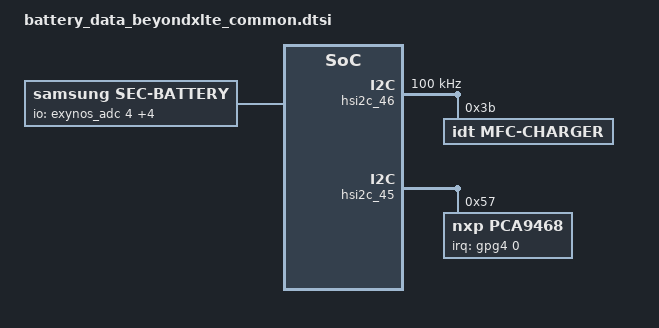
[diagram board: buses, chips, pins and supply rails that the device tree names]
/*
 * SAMSUNG UNIVERSAL9820 board device tree source
 *
 * Copyright (c) 2018 Samsung Electronics Co., Ltd.
 *		http://www.samsung.com
 *
 * This program is free software; you can redistribute it and/or modify
 * it under the terms of the GNU General Public License version 2 as
 * published by the Free Software Foundation.
 */

/ {
	fragment@battery {
		target-path = "/";
		__overlay__ {
			sec-direct-charger {
				status = "okay";
				compatible = "samsung,sec-direct-charger";

				charger,battery_name = "battery";
				charger,main_charger = "max77705-charger";
				charger,direct_charger = "pca9468-charger";

				charger,dchg_min_current = <2000>;
				charger,dchg_temp_low_threshold = <180>;
				charger,dchg_temp_high_threshold = <410>;

				charger,ta_alert_wa;
			};

			battery {
				status = "okay";
				compatible = "samsung,sec-battery";

				pinctrl-names = "default";
				/* battery,irq_gpio = <&gpa1 6 0>; */
				battery,wpc_en = <&gpg0 1 0>;

				battery,vendor = "Battery";
				battery,charger_name = "sec-direct-charger";
				battery,fuelgauge_name = "max77705-fuelgauge";
				battery,wireless_charger_name = "mfc-charger";
				battery,technology = <2>; /* POWER_SUPPLY_TECHNOLOGY_LION */
				battery,fgsrc_switch_name = "max77705-charger"; /* Fuelgauge voltage source */

				battery,batt_data_version = <2>;

				battery,chip_vendor = "LSI";
				battery,temp_adc_type = <1>; /* SEC_BATTERY_ADC_TYPE_AP */

				battery,temp_check_type = <2>; /* SEC_BATTERY_TEMP_CHECK_TEMP */
				battery,usb_temp_check_type = <2>; /* SEC_BATTERY_TEMP_CHECK_TEMP */
				battery,chg_temp_check_type = <2>; /* SEC_BATTERY_TEMP_CHECK_TEMP */
				battery,wpc_temp_check_type = <2>; /* SEC_BATTERY_TEMP_CHECK_TEMP */
				battery,dchg_temp_check_type = <0>; /* SEC_BATTERY_TEMP_CHECK_NONE for test */

				battery,thermal_source = <2>; /* SEC_BATTERY_THERMAL_SOURCE_ADC */
				battery,usb_thermal_source = <2>; /* SEC_BATTERY_THERMAL_SOURCE_ADC */
				battery,chg_thermal_source = <2>; /* SEC_BATTERY_THERMAL_SOURCE_ADC */
				battery,wpc_thermal_source = <2>; /* SEC_BATTERY_THERMAL_SOURCE_ADC */
				battery,dchg_thermal_source = <3>; /* SEC_BATTERY_THERMAL_SOURCE_CHG_ADC */

				battery,polling_time = <10 30 30 30 3600>;

				battery,temp_table_adc = <293 343 404 474 557 652 764 893 1040 1207
					1390 1594 1812 2041 2275 2511 2738 2951 3135 3321 3463 3592 3693>;
				battery,temp_table_data = <900 850 800 750 700 650 600 550 500 450
					400 350 300 250 200 150 100 50 0 (-50) (-100) (-150) (-200)>;

				battery,usb_temp_table_adc = <293 343 409 479 562 657 770 899 1045 1212
					1395 1598 1815 2042 2275 2507 2733 2945 3139 3301 3442 3566 3677>;
				battery,usb_temp_table_data = <900 850 800 750 700 650 600 550 500 450
					400 350 300 250 200 150 100 50 0 (-50) (-100) (-150) (-200)>;

				battery,chg_temp_table_adc = <275 325 388 457 538 633 744 872 1009 1184
					1366 1570 1786 2014 2248 2483 2710 2916 3111 3294 3443 3560 3672>;
				battery,chg_temp_table_data = <900 850 800 750 700 650 600 550 500 450
					400 350 300 250 200 150 100 50 0 (-50) (-100) (-150) (-200)>;

				battery,wpc_temp_table_adc = <293 343 404 474 557 652 764 893 1040 1207
					1390 1594 1812 2041 2275 2511 2738 2951 3135 3321 3463 3592 3693>;
				battery,wpc_temp_table_data = <900 850 800 750 700 650 600 550 500 450
					400 350 300 250 200 150 100 50 0 (-50) (-100) (-150) (-200)>;

				battery,dchg_temp_table_adc = <110262 131376 159528 190026 225216 265098 307326 373014 436356 511428
					593538 685032 783564 886788 992358 1100274 1205844 1299684 1391178 1470942 1538976 1595280 1642200>;
				battery,dchg_temp_table_data = <900 850 800 750 700 650 600 550 500 450
					400 350 300 250 200 150 100 50 0 (-50) (-100) (-150) (-200)>;

				battery,wireless_cc_cv = <85>;
				battery,wpc_cc_cv_vout = <5500>;
				battery,wpc_cv_call_vout = <5000>;
				battery,wpc_cc_call_vout = <5000>;
				battery,wpc_det = <&gpa2 0 0>;
				battery,wpc_int = <&gpa3 2 0>;
				battery,hv_vout_wa = <0x41>; /* WC vout 10.0V */
				battery,adc_check_count = <5>;

				battery,cable_check_type = <4>; /* SEC_BATTERY_CABLE_CHECK_PSY */
				battery,cable_source_type = <1>; /* SEC_BATTERY_CABLE_SOURCE_EXTERNAL */
				battery,polling_type = <1>; /* SEC_BATTERY_MONITOR_ALARM */
				battery,monitor_initial_count = <0>;

				battery,battery_check_type = <0>; /* SEC_BATTERY_CHECK_NONE */
				battery,check_count = <0>;
				battery,check_adc_max = <1440>;
				battery,check_adc_min = <0>;

				battery,ovp_uvlo_check_type = <3>; /* SEC_BATTERY_OVP_UVLO_CHGPOLLING */

				battery,temp_check_count = <1>;
				battery,temp_highlimit_threshold_event = <700>;
				battery,temp_highlimit_recovery_event = <680>;
				battery,temp_high_threshold_event = <500>;
				battery,temp_high_recovery_event = <480>;
				battery,temp_low_threshold_event = <0>;
				battery,temp_low_recovery_event = <20>;
				battery,temp_highlimit_threshold_normal = <700>;
				battery,temp_highlimit_recovery_normal = <680>;
				battery,temp_high_threshold_normal = <500>;
				battery,temp_high_recovery_normal = <480>;
				battery,temp_low_threshold_normal = <0>;
				battery,temp_low_recovery_normal = <20>;
				battery,temp_highlimit_threshold_lpm = <700>;
				battery,temp_highlimit_recovery_lpm = <680>;
				battery,temp_high_threshold_lpm = <500>;
				battery,temp_high_recovery_lpm = <480>;
				battery,temp_low_threshold_lpm = <0>;
				battery,temp_low_recovery_lpm = <20>;
				battery,wpc_high_threshold_normal = <450>;
				battery,wpc_high_recovery_normal = <430>;
				battery,wpc_low_threshold_normal = <0>;
				battery,wpc_low_recovery_normal = <20>;
				battery,tx_high_threshold = <450>;
				battery,tx_high_recovery = <400>;
				battery,tx_low_threshold = <0>;
				battery,tx_low_recovery = <50>;
				battery,full_check_type = <7>; /* SEC_BATTERY_FULLCHARGED_CHGPSY */
				battery,full_check_type_2nd = <7>; /* SEC_BATTERY_FULLCHARGED_CHGPSY */
				battery,full_check_count = <1>;
				battery,chg_gpio_full_check = <0>;
				battery,chg_polarity_full_check = <1>;

				battery,chg_high_temp = <460>;
				battery,chg_high_temp_recovery = <440>;
				battery,chg_input_limit_current = <1000>;
				battery,chg_charging_limit_current = <1700>;
				battery,dchg_input_limit_current = <1000>;
				battery,dchg_charging_limit_current = <2000>;

				battery,wpc_temp_control_source = <1>; /* TEMP_CONTROL_SOURCE_BAT_THM = WPC_THM */
				battery,wpc_high_temp = <380>;
				battery,wpc_high_temp_recovery = <360>;
				battery,wpc_input_limit_current = <600>;
				battery,wpc_charging_limit_current = <1000>;
				battery,wpc_temp_lcd_on_control_source = <1>; /* TEMP_CONTROL_SOURCE_BAT_THM = WPC_THM */
				battery,wpc_lcd_on_high_temp = <380>;
				battery,wpc_lcd_on_high_temp_rec = <360>;
				battery,wpc_lcd_on_input_limit_current = <450>;

				battery,wpc_store_high_temp = <360>;
				battery,wpc_store_high_temp_recovery = <340>;
				battery,wpc_store_lcd_on_high_temp = <360>;
				battery,wpc_store_lcd_on_high_temp_rec = <300>;
				battery,wpc_store_lcd_on_charging_limit_current = <400>;

				battery,ta_alert_wa;

				battery,sleep_mode_limit_current = <800>;
				battery,wc_full_input_limit_current = <100>;

				battery,mix_high_temp = <420>;
				battery,mix_high_chg_temp = <500>;
				battery,mix_high_temp_recovery = <390>;

				/* SEC_BATTERY_FULL_CONDITION_NOTIMEFULL | SEC_BATTERY_FULL_CONDITION_VCELL */
				battery,full_condition_type = <9>;
				battery,full_condition_soc = <93>;
				battery,full_condition_vcell = <4250>;

				battery,recharge_check_count = <1>;
				battery,recharge_condition_type = <4>; /* SEC_BATTERY_RECHARGE_CONDITION_VCELL */
				battery,recharge_condition_soc = <98>;
				battery,recharge_condition_vcell = <4270>;

				battery,charging_total_time = <14400>;
				battery,hv_charging_total_time = <10800>;
				battery,normal_charging_total_time = <18000>;
				battery,usb_charging_total_time = <36000>;
				battery,recharging_total_time = <5400>;
				battery,charging_reset_time = <0>;

				battery,chg_float_voltage = <4340>;
				battery,chg_ocp_current = <6200>;
				battery,chg_ocp_dtc = <100>;

				battery,swelling_high_temp_block = <410>;
				battery,swelling_high_temp_recov = <390>;
				battery,swelling_low_temp_block_1st = <150>;
				battery,swelling_low_temp_recov_1st = <170>;
				battery,swelling_low_temp_block_2nd = <50>;
				battery,swelling_low_temp_recov_2nd = <70>;
				battery,swelling_low_temp_3rd_ctrl;
				battery,swelling_low_temp_block_3rd = <180>;
				battery,swelling_low_temp_recov_3rd = <200>;

				battery,swelling_low_temp_current = <1050>;	/* 0.24C */
				battery,swelling_low_temp_current_2nd = <450>;	/* 0.1C */
				battery,swelling_low_temp_current_3rd = <3150>;	/* 0.72C */
				battery,swelling_low_temp_topoff = <250>;	/* 0.05C */
				battery,swelling_high_temp_current = <1550>;	/* 0.36C */
				battery,swelling_high_temp_topoff = <250>;	/* 0.05C */
				battery,swelling_wc_high_temp_current = <1050>;	/* 0.24C */
				battery,swelling_wc_low_temp_current = <1050>;	/* 0.24C */
				battery,swelling_wc_low_temp_current_2nd = <450>;	/* 0.1C */
				battery,swelling_wc_low_temp_current_3rd = <3150>;	/* 0.72C */

				battery,swelling_drop_float_voltage = <4150>;
				battery,swelling_high_rechg_voltage = <4000>;
				battery,swelling_low_rechg_voltage = <4000>;
				battery,wa_float_voltage = <4050>;

				battery,siop_event_check_type = <1>;
				battery,siop_call_cv_current = <300>;
				battery,siop_call_cc_current = <300>;

				battery,siop_input_limit_current = <1200>;
				battery,siop_charging_limit_current = <1000>;
				battery,siop_hv_input_limit_current = <700>;
				battery,siop_hv_charging_limit_current = <1000>;
				battery,siop_apdo_input_limit_current = <1200>;
				battery,siop_apdo_charging_limit_current = <2000>;

				battery,siop_wireless_input_limit_current = <600>;
				battery,siop_wireless_charging_limit_current = <850>;
				battery,siop_hv_wireless_input_limit_current = <600>;
				battery,siop_hv_wireless_charging_limit_current = <850>;
				battery,siop_store_hv_wireless_input_limit_current = <450>;

				battery,ttf_hv_charge_current = <3150>;
				battery,ttf_hv_12v_wireless_charge_current = <2450>;
				battery,ttf_hv_wireless_charge_current = <1600>;
				battery,ttf_wireless_charge_current = <940>;
				battery,ttf_dc25_charge_current = <4000>;

				battery,rp_current_rp1 = <500>;
				battery,rp_current_rp2 = <1500>;
				battery,rp_current_rp3 = <3000>;
				battery,rp_current_rdu_rp3 = <2100>;
				battery,rp_current_abnormal_rp3 = <1800>;

				battery,pd_charging_charge_power = <15000>;
				battery,max_charging_current = <3150>;
				battery,max_charging_charge_power = <25000>; /* 25W */
				battery,battery_full_capacity = <4400>;

				/* cycle, chg_float_voltage, recharge_condition_vcell, full_condition_vcell, full_condition_soc, step charging condition */
				battery,age_data = <0 4340 4270 4250 93 45
						300 4330 4260 4230 92 45
						400 4310 4240 4210 91 45
						700 4290 4220 4190 90 45
						1000 4240 4170 4140 89 45>;

				battery,health_condition = <
						/* CYCLE ASOC */
						900 75	/* GOOD */
						1200 65 /* NORMAL */
						1500 55 /* AGED */
						>;

				/* step charging option */
				battery,step_charging_type = <0>;
				battery,step_charging_charge_power = <12000>;
				battery,step_charging_condition = <45 100>;
				battery,step_charging_condition_curr = <3150 3150>;
				battery,step_charging_current = <3150 3150>;
				battery,step_charging_float_voltage = <4150 4340>;

				/* direct step charging option */
				battery,dc_step_chg_type = <0x6B>; /* origin(0x6B), soc option is temporary removed */
				battery,dc_step_chg_charge_power = <22000>;
				battery,dc_step_chg_step = <3>;
				battery,dc_step_chg_cond_vol = <4160 4250 4340>; /* STEP_CHARGING_CONDITION_VOLTAGE */ 
				battery,dc_step_chg_cond_iin = <1950 1550 0>; /* STEP_CHARGING_CONDITION_INPUT_CURRENT */
				battery,dc_step_chg_iin_check_cnt = <3>;
				battery,dc_step_chg_cond_soc = <40 60 100>; /* STEP_CHARGING_CONDITION_SOC */
				battery,dc_step_chg_val_vfloat = <4160 4250 4340>; /* STEP_CHARGING_CONDITION_FLOAT_VOLTAGE */
				battery,dc_step_chg_val_iout = <5100 3900 3100>;

				battery,pre_afc_input_current = <500>; /* mA */
				battery,prepare_ta_delay = <0>; /* msec */

				battery,max_input_voltage = <9000>; /* mV */
				battery,max_input_current = <3000>;  /* mA */

				battery,enable_sysovlo_irq;
				battery,enable_noise_wa;

				battery,standard_curr = <3150>;
				battery,expired_time = <10800>;
				battery,recharging_expired_time = <5400>;

				battery,cisd_max_voltage_thr = <4400>; /* battery ovp detection voltage */

				battery,cisd_alg_index = <8>;
				battery,ignore_cisd_index = <0 640>; /* Do not use AFC_FAIL to DROP_VALUE */
				battery,ignore_cisd_index_d = <0 80>; /* Do not use AFC_FAIL_PER_DAY to DROP_VALUE_PER_DAY */

				battery,tx_stop_capacity = <30>;
				battery,tx_minduty_default = <20>;
				battery,tx_minduty_5V = <50>;

				battery,tx_uno_iout = <1500>;
				battery,tx_mfc_iout_gear = <1500>;
				battery,tx_mfc_iout_phone = <1100>;
				battery,tx_mfc_iout_phone_5v = <300>;
				battery,tx_mfc_iout_lcd_on = <900>;

				io-channels = <&exynos_adc 4>, <&exynos_adc 3>, <&exynos_adc 11>, <&exynos_adc 4>, <&exynos_adc 1>;
				io-channel-names = "adc-temp", "adc-chg-temp", "adc-in-bat", "adc-wpc-temp", "adc-usb-temp";
#io-channel-cells = <5>;
				io-channel-ranges;
			};

			max77705-fuelgauge {
				status = "okay";
				fuelgauge,fuel_alert_soc = <1>;
				fuelgauge,jig_gpio = <&gpg0 0 0>;
				fuelgauge,jig_low_active;
				fuelgauge,capacity_max = <1000>;
				fuelgauge,capacity_max_margin = <300>;
				fuelgauge,capacity_min = <0>;
				fuelgauge,capacity_calculation_type = <28>;
				fuelgauge,repeated_fuelalert;
				fuelgauge,using_temp_compensation;
				fuelgauge,low_temp_limit = <100>;
				fuelgauge,using_hw_vempty;
				fuelgauge,v_empty = <0xAA64>; /* Empty: 3300mV, Recover: 3480mV */
				fuelgauge,v_empty_origin = <0x7D54>; /* Empty: 2500mV, Recover: 3360mV */
				fuelgauge,sw_v_empty_voltage = <3200>;
				fuelgauge,sw_v_empty_voltage_cisd = <3100>;
				fuelgauge,sw_v_empty_recover_voltage = <3480>;
				fuelgauge,fg_resistor = <2>;
				fuelgauge,capacity = <0x1130>;
				/*fuelgauge,auto_discharge_en;*/
				fuelgauge,discharge_temp_threshold = <600>;
				fuelgauge,discharge_volt_threshold = <4200>;
				fuelgauge,ttf_capacity = <4400>;
				fuelgauge,cv_data = <
					2488	829	1809
					2409	832	1796
					2327	837	1769
					2272	840	1743
					2182	846	1721
					2104	850	1690
					2038	854	1670
					1950	859	1640
					1904	861	1622
					1838	865	1594
					1797	867	1576
					1749	870	1560
					1703	873	1531
					1683	873	1525
					1667	875	1515
					1660	875	1512
					1653	876	1509
					1615	878	1502
					1580	880	1483
					1553	881	1463
					1544	882	1458
					1520	883	1451
					1477	886	1424
					1431	888	1409
					1396	891	1383
					1347	894	1361
					1299	896	1332
					1267	898	1315
					1231	902	1288
					1202	904	1263
					1148	906	1243
					1109	909	1213
					1067	911	1185
					1031	914	1156
					1013	915	1140
					975	917	1111
					961	919	1084
					921	921	1064
					892	923	1038
					887	923	1019
					863	925	1004
					833	927	976
					808	929	946
					787	930	918
					780	931	904
					764	932	895
					744	934	864
					730	935	846
					715	936	828
					693	937	800
					681	938	783
					666	940	752
					651	941	735
					640	942	712
					628	945	697
					622	946	679
					618	947	664
					600	950	646
					596	951	627
					589	953	614
					584	953	601
					576	956	572
					577	957	553
					562	958	535
					511	968	506
					505	969	487
					493	971	464
					492	972	435
					484	973	417
					480	975	398
					474	976	380
					470	977	364
					462	977	355
					456	978	336
					452	979	329
					446	981	303
					437	982	282
					429	984	255
					423	985	242
					422	986	229
					414	987	211
					411	988	199
					405	989	191
					397	990	171
					391	991	140
					387	992	126
					384	993	107
					372	995	84
					364	997	54
					356	998	26
					356	998	13
					0	1000	0
					>;
			};

			/* sec_battery_cable
			 *   0	UNKNOWN,
			 *   1	NONE,
			 *   2	PREPARE_TA,
			 *   3	TA,
			 *   4	USB,
			 *   5	USB_CDP,
			 *   6	9V_TA,
			 *   7	9V_ERR,
			 *   8	9V_UNKNOWN,
			 *   9	12V_TA,
			 *  10	WIRELESS,
			 *  11	HV_WIRELESS,
			 *  12	PMA_WIRELESS,
			 *  13	WIRELESS_PACK,
			 *  14	WIRELESS_HV_PACK,
			 *  15	WIRELESS_STAND,
			 *  16	WIRELESS_HV_STAND,
			 *  17	QC20,
			 *  18	QC30,
			 *  19	PDIC,
			 *  20	UARTOFF,
			 *  21	OTG,
			 *  22	LAN_HUB,
			 *  23	POWER_SHARING,
			 *  24	HMT_CONNECTED,
			 *  25	HMT_CHARGE,
			 *  26	HV_TA_CHG_LIMIT,
			 *  27	WIRELESS_VEHICLE,
			 *  28	WIRELESS_HV_VEHICLE,
			 *  29	PREPARE_WIRELESS_HV,
			 *  30	TIMEOUT,
			 *  31	SMART_OTG,
			 *  32	SMART_NOTG,
			 *  33	WIRELESS_TX,
			 *  34	HV_WIRELESS_20,
			 *  35	HV_WIRELESS_20_LIMIT,
			 *  36	WIRELESS_FAKE,
			 *  37  PREPARE_WIRELESS_20,
			 *  38	CABLE_PDIC_APDO,
			 *  39	CABLE_MAX,
			 */

			cable-info {
				default_input_current = <1800>;
				default_charging_current = <2100>;
				full_check_current_1st = <450>;
				full_check_current_2nd = <250>;

				current_group_1 {
					cable_number = <2 19 21 22 23 30>;
					input_current = <500>;
					charging_current = <500>;
				};
				current_group_2 {
					cable_number = <25 31>;
					input_current = <1000>;
					charging_current = <1000>;
				};
				current_group_3 {
					cable_number = <5 32>;
					input_current = <1500>;
					charging_current = <1500>;
				};
				current_group_4 {
					cable_number = <6 7 8>;
					input_current = <1650>;
					charging_current = <3150>;
				};
				current_group_5 {
					cable_number = <9>;
					input_current = <1650>;
					charging_current = <2500>;
				};
				current_group_6 {
					cable_number = <10 12 15 27 36>;
					input_current = <800>;
					charging_current = <3150>;
				};
				current_group_7 {
					cable_number = <13>;
					input_current = <750>;
					charging_current = <3150>;
				};
				current_group_8 {
					cable_number = <24>;
					input_current = <1000>;
					charging_current = <450>;
				};
				current_group_9 {
					cable_number = <26>;
					input_current = <2000>;
					charging_current = <1800>;
				};
				current_group_10 {
					cable_number = <11 14 16 28 35>;
					input_current = <750>;
					charging_current = <3150>;
				};
				current_group_11 {
					cable_number = <29 37>;
					input_current = <500>;
					charging_current = <1400>;
				};
				current_group_12 {
					cable_number = <1 4>;
					input_current = <475>;
					charging_current = <550>;
				};
				current_group_13 {
					cable_number = <33>;
					input_current = <820>;
					charging_current = <3150>;
				};
				current_group_14 {
					cable_number = <34>;
					input_current = <500>;
					charging_current = <3150>;
				};
			};
			wireless-power-info {
				current_group_0 {
					wireless_power_class = <1>;
					vout = <5500>;
					input_current_limit = <750>;
					fast_charging_current = <3150>;
					ttf_charge_current = <3150>;
					rx_power = <4500>;
				};
				current_group_1 {
					wireless_power_class = <2>;
					vout = <10000>;
					input_current_limit = <750>;
					fast_charging_current = <3150>;
					ttf_charge_current = <3150>;
					rx_power = <7500>;
				};
				current_group_2 {
					wireless_power_class = <2>;
					vout = <10000>;
					input_current_limit = <1200>;
					fast_charging_current = <3150>;
					ttf_charge_current = <2450>;
					rx_power = <12000>;
				};
			};
		}; /* end of __overlay__ */
	}; /* end of fragment */
};

&pinctrl_0 {
	wpc_int: wpc-int {
		 samsung,pins = "gpa3-1";
		 samsung,pin-function = <0xf>;
		 samsung,pin-pud = <0>;
		 samsung,pin-drv = <0>;
	 };

	wpc_det: wpc-det {
		 samsung,pins = "gpa2-0";
		 samsung,pin-function = <0xf>;
		 samsung,pin-pud = <1>;
	 };
};

&pinctrl_5 {
	jig_gpio: jig-gpio {
		samsung,pins = "gpg0-0";
		samsung,pin-function = <0xf>;
		samsung,pin-pud = <0>;
		samsung,pin-drv = <0>;
	};

	wpc_en: wpc-en {
		samsung,pins = "gpg0-1";
		samsung,pin-function = <1>;
		samsung,pin-pud = <0>;
		samsung,pin-drv = <0>;
	};

	dc_irq: dc-irq {
		samsung,pins = "gpg4-0";
		samsung,pin-function = <0x0f>;
		samsung,pin-pud = <0>;
		samsung,pin-drv = <0>;
	};

	dc_cpen: dc-cpen {
		samsung,pins = "gpg1-6";
		samsung,pin-function = <1>;
		samsung,pin-pud = <1>;
		samsung,pin-drv = <0>;
	};
};

&hsi2c_46 {
	#address-cells = <1>;
	#size-cells = <0>;
	status = "okay";
	samsung,stop-after-trans;
	samsung,stand-mode;
	clock-frequency = <100000>;

	mfc-charger@3b {
		compatible = "idt,mfc-charger";
		reg = <0x3b>;
		status = "okay";

		pinctrl-names = "default";
		pinctrl-0 = <&wpc_int &wpc_det>;

		battery,wpc_int = <&gpa3 1 0>;
		battery,wpc_det = <&gpa2 0 0>;
		battery,mst_pwr_en = <&gpg3 5 0>;

		battery,charger_name = "max77705-charger";
		battery,fuelgauge_name = "max77705-fuelgauge";
		battery,wireless_charger_name = "mfc-charger";
		battery,fod_data = <150 57 142 49 150 30 150 25 155 9 156 7>;
		battery,fod_data_cv = <150 87 142 79 150 60 150 55 155 39 156 37>;
		battery,fod_hero_5v_data = <150 2 142 (-6) 150 (-20) 150 (-28) 165 185 156 (-39)>;
		battery,wc_cover_rpp = <0x44>;
		battery,oc_fod1 = <1100>;
		battery,wireless20_vout_list = <8>; /* WIRELESS_VOUT_10V*/
		battery,wireless20_vrect_list = <10>; /* MFC_AFC_CONF_12V_TX*/
		battery,wireless20_max_power_list = <2>; /* SEC_WIRELESS_RX_POWER_12W*/
	};
};

&hsi2c_45 {
	status = "okay";

	pca9468@57 {
		compatible = "nxp,pca9468";
		reg = <0x57>;
		pinctrl-names = "default";
		pinctrl-0     = <&dc_irq &dc_cpen>;

		pca9468,irq-gpio = <&gpg4 0 0>;
		pca9468,input-current-limit = <2570000>; /* 2.57A */
		pca9468,charging-current = <6000000>; /* 6A */
		pca9468,input-itopoff = <500000>; /* 500mA */
		pca9468,sense-resistance = <0>; /* 5mOhm */
		pca9468,switching-frequency = <3>; /* 980KHz */
		pca9468,ntc-threshold = <0>; /* disable */
		pca9468,chg_gpio_en = <&gpg1 6 0>;
		pca9468,ta-mode = <1>; /* 2:1 charging mode */
	};
};
